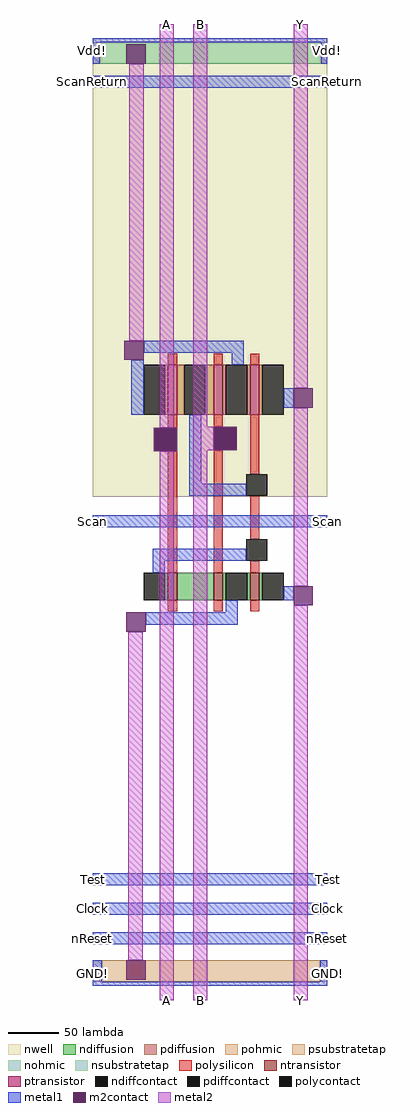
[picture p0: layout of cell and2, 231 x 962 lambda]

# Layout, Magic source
magic
tech tsmc180
<< nwell >>
rect 0 496 231 948
<< polysilicon >>
rect 74 626 83 637
rect 119 626 128 637
rect 155 626 164 637
rect 74 564 83 577
rect 74 421 83 541
rect 119 565 128 577
rect 119 421 128 542
rect 155 518 164 577
rect 155 454 164 497
rect 155 421 164 433
rect 74 383 83 394
rect 119 383 128 394
rect 155 383 164 394
<< ndiffusion >>
rect 71 394 74 421
rect 83 394 119 421
rect 128 394 131 421
rect 152 394 155 421
rect 164 394 167 421
<< pdiffusion >>
rect 71 577 74 626
rect 83 577 90 626
rect 111 577 119 626
rect 128 577 131 626
rect 152 577 155 626
rect 164 577 167 626
<< pohmic >>
rect 0 18 9 39
rect 224 18 231 39
<< nohmic >>
rect 0 923 7 944
rect 225 923 231 944
<< ntransistor >>
rect 74 394 83 421
rect 119 394 128 421
rect 155 394 164 421
<< ptransistor >>
rect 74 577 83 626
rect 119 577 128 626
rect 155 577 164 626
<< polycontact >>
rect 60 541 83 564
rect 119 542 142 565
rect 151 497 172 518
rect 151 433 172 454
<< ndiffcontact >>
rect 50 394 71 421
rect 131 394 152 421
rect 167 394 188 421
<< pdiffcontact >>
rect 50 577 71 626
rect 90 577 111 626
rect 131 577 152 626
rect 167 577 188 626
<< psubstratetap >>
rect 9 18 224 39
<< nsubstratetap >>
rect 7 923 225 944
<< metal1 >>
rect 0 944 231 948
rect 0 923 7 944
rect 225 923 231 944
rect 0 899 231 911
rect 50 638 149 650
rect 38 577 50 631
rect 137 626 149 638
rect 188 584 198 603
rect 95 509 107 577
rect 95 497 151 509
rect 0 466 231 478
rect 59 433 151 445
rect 59 421 71 433
rect 188 394 198 408
rect 131 382 143 394
rect 52 370 143 382
rect 0 113 231 125
rect 0 84 231 96
rect 0 55 231 67
rect 0 18 9 39
rect 224 18 231 39
rect 0 14 231 18
<< m2contact >>
rect 33 923 52 942
rect 31 631 50 650
rect 198 584 217 603
rect 60 541 83 564
rect 119 542 142 565
rect 198 389 217 408
rect 33 363 52 382
rect 33 20 52 39
<< metal2 >>
rect 36 650 50 923
rect 66 564 80 962
rect 99 565 113 962
rect 198 603 212 962
rect 99 542 119 565
rect 35 39 49 363
rect 66 0 80 541
rect 99 0 113 542
rect 198 408 212 584
rect 198 0 212 389
<< labels >>
rlabel metal1 0 113 0 125 3 Test
rlabel metal1 0 84 0 96 3 Clock
rlabel metal1 0 55 0 67 3 nReset
rlabel metal1 0 14 0 39 3 GND!
rlabel metal1 0 923 0 948 3 Vdd!
rlabel metal1 231 923 231 948 7 Vdd!
rlabel metal1 231 14 231 39 7 GND!
rlabel metal1 231 55 231 67 7 nReset
rlabel metal1 231 84 231 96 7 Clock
rlabel metal1 231 113 231 125 7 Test
rlabel metal1 231 899 231 911 7 ScanReturn
rlabel metal1 0 899 0 911 3 ScanReturn
rlabel metal1 0 466 0 478 3 Scan
rlabel metal1 231 466 231 478 7 Scan
rlabel metal2 66 962 80 962 5 A
rlabel metal2 99 962 113 962 5 B
rlabel metal2 198 962 212 962 5 Y
rlabel metal2 66 0 80 0 1 A
rlabel metal2 99 0 113 0 1 B
rlabel metal2 198 0 212 0 1 Y
<< end >>
